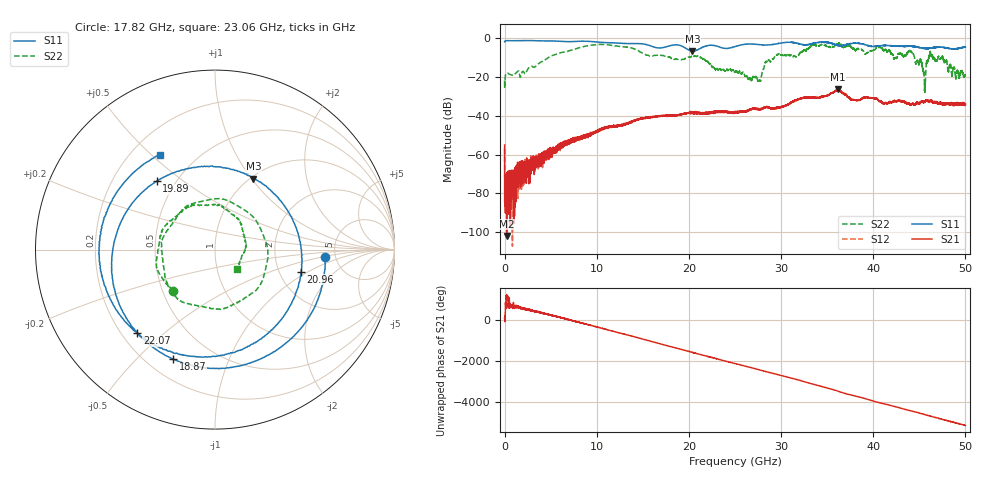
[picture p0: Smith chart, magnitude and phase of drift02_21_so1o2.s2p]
!Created with skrf (http://scikit-rf.org).
# Hz S RI R 50.0
!freq ReS11 ImS11 ReS21 ImS21 ReS12 ImS12 ReS22 ImS22
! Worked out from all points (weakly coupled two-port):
!   10001 points, 300 kHz to 50 GHz, reference 50 ohm
!   highest |S21| = -26.42 dB at 36.15 GHz (marker M1); lowest = -101.9 dB at 225.3 MHz (marker M2)
!   lowest |S11| = -6.9 dB at 20.38 GHz (marker M3), VSWR 2.64, Z = 51.4 + j51.1 ohm
!   |S11| at or under -10 dB: nowhere
!   |S22| runs from -28.1 to -2.7 dB; largest |S21 - S12| = 0.0049
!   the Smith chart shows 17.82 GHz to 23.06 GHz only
!   S11 on the Smith chart (normalised r, x): 17.82 GHz: 4.14, -0.54; 18.87 GHz: 0.30, -0.65; 19.89 GHz: 0.39, +0.40; 20.96 GHz: 2.65, -0.86; 22.07 GHz: 0.26, -0.41; 23.06 GHz: 0.31, +0.53
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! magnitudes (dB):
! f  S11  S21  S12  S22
! 300 kHz  -2.1  -55.1  -56.9  -21.9
! 225.3 MHz  -1.4  -101.9  -83.1  -18.3
! 8.335 GHz  -1.7  -50.9  -51.7  -4.8
! 16.67 GHz  -5.2  -40.3  -40.2  -9.0
! 17.82 GHz  -4.2  -40.0  -40.0  -9.7
! 18.87 GHz  -3.7  -39.8  -39.6  -11.0
! 19.89 GHz  -6.0  -38.5  -38.5  -10.0
! 20.38 GHz  -6.9  -37.9  -38.4  -9.6
! 20.96 GHz  -6.1  -38.4  -38.7  -9.4
! 22.07 GHz  -3.9  -38.7  -38.8  -12.3
! 23.06 GHz  -4.3  -38.1  -38.0  -15.9
! 25 GHz  -4.5  -38.5  -38.6  -17.5
! 27.62 GHz  -3.5  -36.7  -36.6  -21.9
! 28.5 GHz  -3.7  -35.6  -35.5  -12.2
! 33.34 GHz  -3.1  -30.6  -30.6  -3.8
! 36.15 GHz  -3.9  -26.4  -27.0  -3.1
! 41.67 GHz  -4.0  -33.1  -33.3  -6.3
! 42.39 GHz  -4.2  -32.3  -32.5  -10.1
! 44.12 GHz  -4.2  -34.5  -34.3  -7.2
! 45.5 GHz  -5.4  -33.0  -32.9  -18.8
! 46.26 GHz  -5.2  -32.1  -32.4  -8.8
! 50 GHz  -4.7  -33.9  -34.5  -19.4
